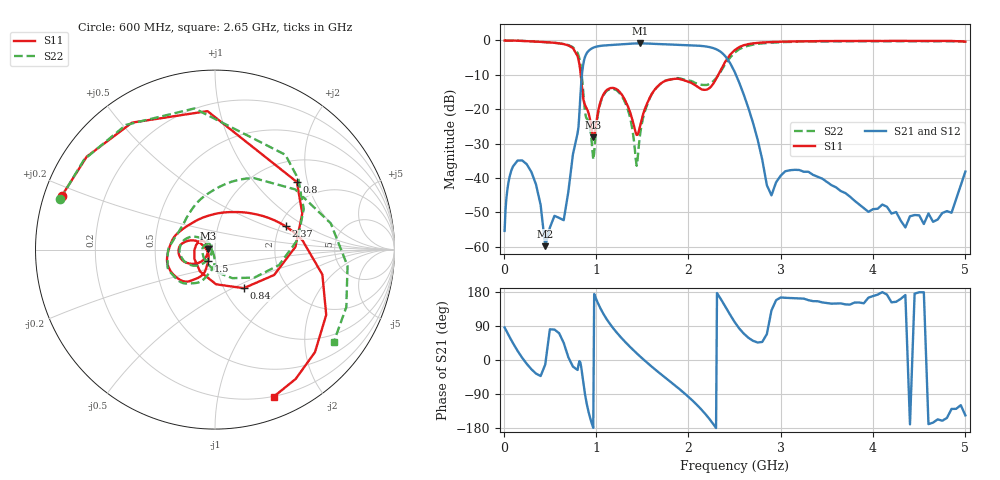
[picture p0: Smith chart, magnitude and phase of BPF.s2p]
!Created: 07-08-2014 at 15:45:11
!MODEL: BFCG-162W+
!S/N: Unit 1
# MHZ S DB R 50
!Frequency  S11 dB  S11 DEG  S21 dB  S21 DEG  S12 dB  S12 DEG  S22 dB  S22 DEG
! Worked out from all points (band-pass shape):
!   236 points, 10 MHz to 5 GHz, reference 50 ohm
!   highest |S21| = -0.89 dB at 1.48 GHz (marker M1); lowest = -59.9 dB at 450 MHz (marker M2)
!   |S21| within 3 dB of the highest: 896.4 MHz to 2.374 GHz (1.478 GHz wide, 90.4 % of centre)
!   lowest |S11| = -28.2 dB at 970 MHz (marker M3), VSWR 1.08, Z = 46.3 + j0.535 ohm
!   |S11| at or under -10 dB: 834.3 MHz to 2.324 GHz (1.49 GHz wide, 94.3 % of centre)
!   |S22| runs from -36.5 to 0.0 dB; largest |S21 - S12| = 0.0014
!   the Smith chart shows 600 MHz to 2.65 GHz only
!   S11 on the Smith chart (normalised r, x): 600 MHz: 0.05, +0.17; 800 MHz: 1.48, +1.72; 840 MHz: 1.23, -0.57; 1.5 GHz: 0.92, -0.12; 2.37 GHz: 2.15, +0.67; 2.65 GHz: 0.20, -1.46
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10  -0.05 -4.7  -55.42 85.9  -55.31 82.8  -0.03 -4.5
70  -0.05 -32.5  -39.04 57.9  -39.07 58.0  -0.03 -31.6
200  -0.16 -85.6  -34.91 6.0  -34.91 6.2  -0.15 -83.9
450  -0.51 -158.7  -59.85 -12.1  -59.99 -12.7  -0.52 -157.7
600  -0.87 160.8  -51.62 70.9  -51.71 71.0  -0.85 161.8
800  -4.56 39.6  -27.04 -26.3  -27.05 -26.3  -3.64 53.4
840  -11.44 -53.4  -12.36 -19.4  -12.36 -19.4  -8.70 -13.5
850  -14.27 -88.2  -9.32 -37.2  -9.32 -37.2  -11.39 -35.3
970  -28.20 171.5  -2.14 -179.1  -2.13 -179.2  -34.66 176.8
1130  -14.19 -164.4  -1.41 102.4  -1.40 102.4  -14.44 -165.0
1440  -27.52 -165.3  -0.90 17.8  -0.89 17.8  -36.46 -164.7
1480  -24.54 -127.1  -0.89 8.8  -0.88 8.8  -26.86 -94.5
1500  -22.39 -120.2  -0.89 4.3  -0.88 4.3  -23.71 -91.8
1680  -13.06 -128.3  -1.08 -33.0  -1.08 -33.0  -13.11 -122.1
2050  -12.64 159.8  -1.48 -108.2  -1.47 -108.3  -12.02 174.0
2370  -7.65 18.2  -3.79 153.4  -3.78 153.3  -8.17 76.1
2550  -1.96 -45.7  -12.24 83.5  -12.24 83.5  -2.57 -7.1
2650  -1.09 -68.3  -19.69 58.6  -19.68 58.6  -1.54 -37.8
2900  -0.49 -100.8  -45.07 130.8  -45.00 131.0  -0.67 -80.6
3350  -0.24 -127.6  -39.11 155.2  -39.13 155.7  -0.32 -113.4
4200  -0.15 -150.8  -50.38 152.2  -50.37 152.9  -0.27 -142.3
5000  -0.35 -165.8  -38.15 -146.1  -38.22 -146.1  -0.43 -158.5
